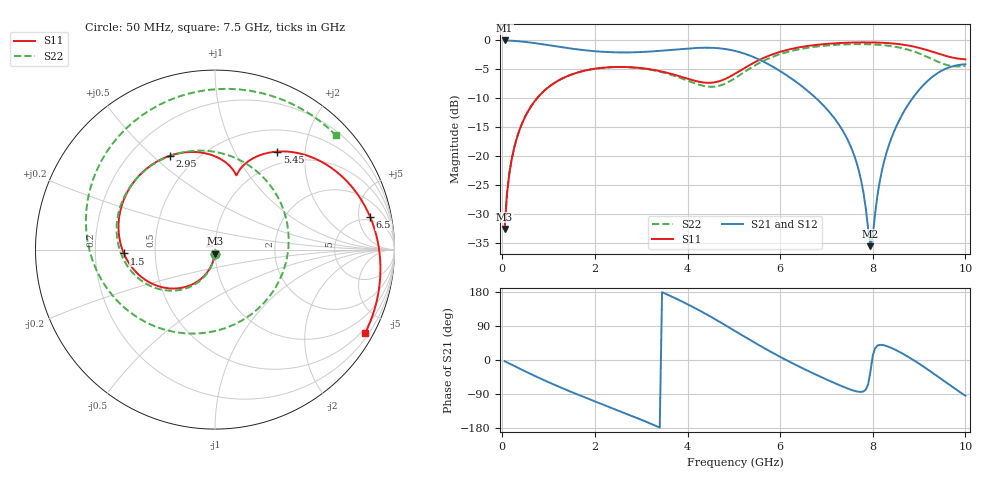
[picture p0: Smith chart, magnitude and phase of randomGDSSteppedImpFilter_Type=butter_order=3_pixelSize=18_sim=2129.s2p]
! freq	dB(S11)	phase(S11)	dB(S12)	phase(S12)
!  dB(S21)	phase(S21)	dB(S22)	phase(S22)
!S-par simulation data
#  GHz  S  DB  R 50
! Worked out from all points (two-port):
!   200 points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, 50 MHz to 10 GHz, reference 50 ohm
!   highest |S21| = -0.01 dB at 50 MHz (marker M1); lowest = -35.5 dB at 7.95 GHz (marker M2)
!   |S21| within 3 dB of the highest: start of sweep to 5.464 GHz
!   lowest |S11| = -32.6 dB at 50 MHz (marker M3), VSWR 1.05, Z = 49.8 - j2.34 ohm
!   |S11| at or under -10 dB: start of sweep to 749 MHz
!   |S22| runs from -32.6 to -0.6 dB; largest |S21 - S12| = 0
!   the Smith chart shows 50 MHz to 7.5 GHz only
!   S11 on the Smith chart (normalised r, x): 50 MHz: 1.00, -0.05; 1.5 GHz: 0.33, -0.02; 2.95 GHz: 0.36, +0.57; 5.45 GHz: 0.80, +1.51; 6.5 GHz: 4.34, +7.12; 7.5 GHz: 0.34, -3.81
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0.05  -32.55 -93.3  -0.01 -3.1  -0.01 -3.1  -32.55 -93.2
0.2  -20.64 -103.1  -0.06 -12.3  -0.06 -12.3  -20.64 -102.3
0.45  -13.90 -118.7  -0.22 -27.4  -0.22 -27.4  -13.90 -117.0
1.5  -5.87 -177.6  -1.42 -84.7  -1.42 -84.7  -5.87 -172.9
1.75  -5.28 169.9  -1.67 -97.1  -1.67 -97.1  -5.27 174.9
2.95  -4.73 115.4  -2.02 -155.0  -2.02 -155.0  -4.77 114.0
3.4  -5.29 97.4  -1.80 -178.3  -1.80 -178.3  -5.39 86.0
4.3  -7.21 74.8  -1.27 127.9  -1.27 127.9  -7.76 1.7
5.05  -5.64 69.6  -1.86 74.8  -1.86 74.8  -6.37 -102.8
5.45  -3.78 57.5  -2.95 45.8  -2.95 45.8  -4.34 -149.7
5.95  -2.09 36.3  -5.04 11.5  -5.04 11.5  -2.50 162.9
6.5  -1.07 11.7  -8.10 -22.8  -8.10 -22.8  -1.40 118.6
6.7  -0.85 3.1  -9.43 -34.5  -9.43 -34.5  -1.15 103.4
7.1  -0.54 -13.5  -12.71 -56.9  -12.71 -56.9  -0.82 73.7
7.5  -0.38 -29.2  -17.87 -77.1  -17.87 -77.1  -0.66 43.5
7.75  -0.34 -38.7  -24.21 -84.1  -24.21 -84.1  -0.64 23.7
7.95  -0.34 -46.2  -35.51 -30.3  -35.51 -30.3  -0.67 7.2
8.35  -0.47 -60.9  -18.03 34.5  -18.03 34.5  -0.93 -29.1
8.9  -1.09 -80.3  -9.53 -1.7  -9.53 -1.7  -1.95 -90.2
9.35  -2.12 -93.1  -5.91 -39.1  -5.91 -39.1  -3.48 -155.7
9.65  -2.83 -98.2  -4.65 -65.3  -4.65 -65.3  -4.33 153.3
10  -3.26 -101.9  -4.11 -94.2  -4.11 -94.2  -4.40 95.4
